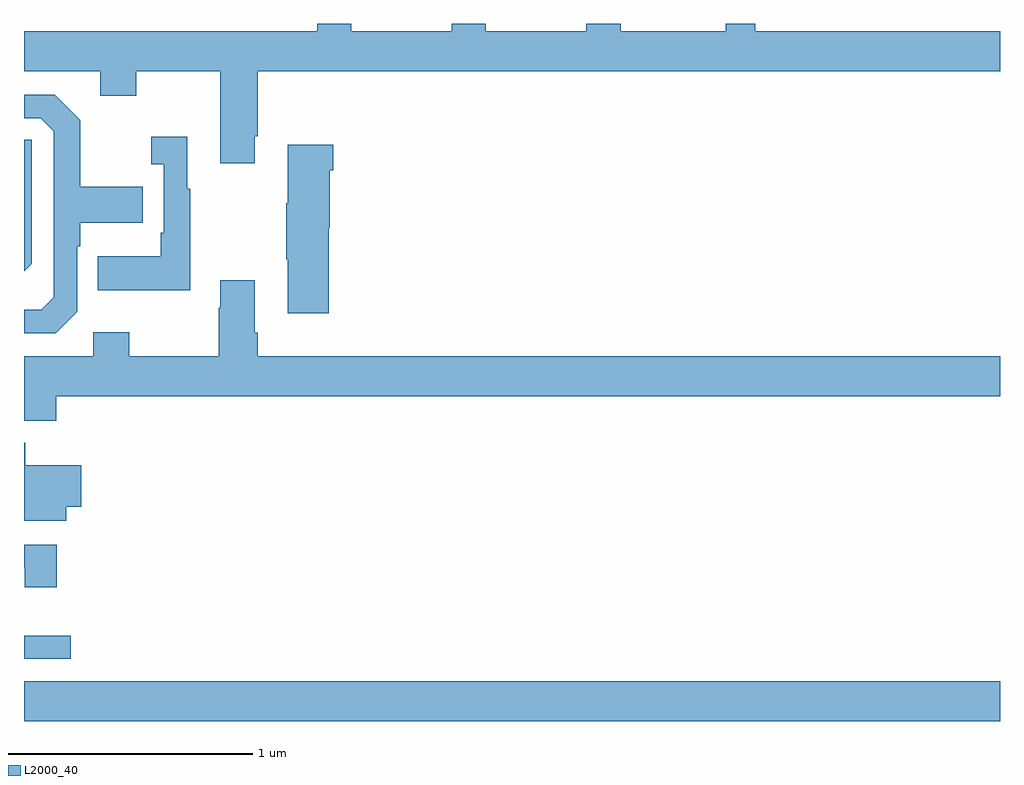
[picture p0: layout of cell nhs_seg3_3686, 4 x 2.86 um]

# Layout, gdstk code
import gdstk
lib = gdstk.Library(unit=1e-6, precision=1e-09)
def R(c, l, rs):  # rectangles x0, y0, x1, y1
    for r in rs: c.add(gdstk.rectangle(r[:2], r[2:], *l))
def P(c, l, *ps):  # polygons
    for p in ps: c.add(gdstk.Polygon(p, *l))
L2000_40 = (2000, 40)

nhs_seg3_3686 = lib.new_cell('nhs_seg3_3686')
R(nhs_seg3_3686, L2000_40, [(301,743.54,305,743.704), (301,743.796,301.192,743.892)])
P(nhs_seg3_3686, L2000_40, [(301.945,745.939),(301.958,745.939),(301.958,746.204),(305,746.204),(305,746.368),(303.997,746.368),(303.997,746.4),(303.875,746.4),(303.875,746.368),(303.445,746.368),(303.445,746.4),(303.305,746.4),(303.305,746.368),(302.893,746.368),(302.893,746.4),(302.753,746.4),(302.753,746.368),(302.341,746.368),(302.341,746.4),(302.201,746.4),(302.201,746.368),(301,746.368),(301,746.204),(301.313,746.204),(301.313,746.105),(301.461,746.105),(301.461,746.204),(301.805,746.204),(301.805,745.827),(301.945,745.827)],
  [(301.218,745.218),(301.218,745.487),(301.231,745.487),(301.231,745.583),(301.487,745.583),(301.487,745.731),(301.231,745.731),(301.231,746.003),(301.125,746.109),(301,746.109),(301,746.013),(301.068,746.013),(301.122,745.959),(301.122,745.278),(301.071,745.227),(301,745.227),(301,745.131),(301.131,745.131)],
  [(301.681,745.723),(301.669,745.723),(301.669,745.936),(301.521,745.936),(301.521,745.823),(301.572,745.823),(301.572,745.543),(301.56,745.543),(301.56,745.447),(301.303,745.447),(301.303,745.307),(301.681,745.307)],
  [(301.032,745.416),(301.032,745.923),(301,745.923),(301,745.384)],
  [(302.249,745.563),(302.254,745.563),(302.254,745.799),(302.267,745.799),(302.267,745.903),(302.081,745.903),(302.081,745.663),(302.074,745.663),(302.074,745.435),(302.081,745.435),(302.081,745.212),(302.249,745.212)],
  [(301.133,744.872),(305,744.872),(305,745.036),(301.958,745.036),(301.958,745.132),(301.945,745.132),(301.945,745.348),(301.805,745.348),(301.805,745.235),(301.798,745.235),(301.798,745.036),(301.431,745.036),(301.431,745.135),(301.284,745.135),(301.284,745.036),(301,745.036),(301,744.773),(301.133,744.773)],
  [(301.174,744.419),(301.234,744.419),(301.234,744.589),(301.006,744.589),(301.006,744.682),(301,744.682),(301,744.362),(301.174,744.362)],
  [(301.135,744.264),(301,744.264),(301,744.168),(301.004,744.168),(301.004,744.09),(301.135,744.09)])

lib.write_gds('nhs_seg3_3686.gds')
